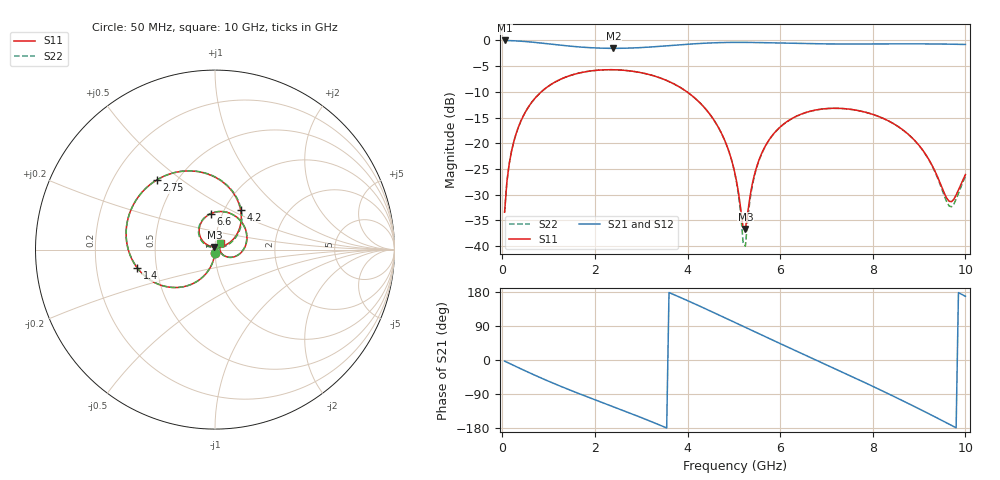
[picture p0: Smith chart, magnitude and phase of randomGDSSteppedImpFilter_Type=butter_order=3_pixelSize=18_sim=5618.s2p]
! freq	dB(S11)	phase(S11)	dB(S12)	phase(S12)
!  dB(S21)	phase(S21)	dB(S22)	phase(S22)
!S-par simulation data
#  GHz  S  DB  R 50
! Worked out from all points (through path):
!   200 points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, 50 MHz to 10 GHz, reference 50 ohm
!   highest |S21| = -0.01 dB at 50 MHz (marker M1); lowest = -1.5 dB at 2.4 GHz (marker M2)
!   group delay of S21, straight-line fit = 151 ps
!   lowest |S11| = -36.7 dB at 5.25 GHz (marker M3), VSWR 1.03, Z = 49.6 + j1.4 ohm
!   |S11| at or under -10 dB: start of sweep to 842.7 MHz; 3.987 GHz to end of sweep
!   |S22| runs from -40.0 to -5.7 dB; largest |S21 - S12| = 0
!   S11 on the Smith chart (normalised r, x): 50 MHz: 1.00, -0.04; 1.4 GHz: 0.39, -0.10; 2.75 GHz: 0.39, +0.41; 4.2 GHz: 1.18, +0.57; 6.6 GHz: 0.88, +0.37; 10 GHz: 1.07, +0.08
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0.05  -33.41 -92.8  -0.01 -3.0  -0.01 -3.0  -33.41 -92.8
0.15  -23.96 -99.1  -0.03 -8.8  -0.03 -8.8  -23.96 -99.1
0.4  -15.71 -113.6  -0.15 -23.2  -0.15 -23.2  -15.71 -113.6
1.4  -7.03 -166.8  -1.06 -76.3  -1.06 -76.3  -7.03 -166.8
1.75  -6.17 176.4  -1.33 -93.2  -1.33 -93.2  -6.17 176.3
2.4  -5.70 146.2  -1.54 -123.5  -1.54 -123.5  -5.70 146.0
2.75  -5.92 129.9  -1.49 -139.9  -1.49 -139.9  -5.92 129.7
3.4  -7.27 98.6  -1.16 -171.7  -1.16 -171.7  -7.27 98.2
4.2  -11.55 57.5  -0.63 145.7  -0.63 145.7  -11.55 56.5
4.75  -18.38 30.1  -0.41 114.6  -0.41 114.6  -18.40 27.8
5.05  -26.98 24.1  -0.38 97.4  -0.38 97.4  -27.19 17.7
5.2  -36.38 63.0  -0.38 88.8  -0.38 88.8  -39.26 51.1
5.25  -36.69 105.1  -0.38 85.9  -0.38 85.9  -40.02 113.6
5.4  -27.85 147.3  -0.40 77.3  -0.40 77.3  -28.19 154.5
5.6  -21.99 145.8  -0.43 65.9  -0.43 65.9  -22.09 149.5
6.6  -13.89 96.4  -0.63 9.8  -0.63 9.8  -13.91 97.7
6.7  -13.66 91.0  -0.65 4.2  -0.65 4.2  -13.68 92.3
7.45  -13.32 50.6  -0.70 -37.9  -0.70 -37.9  -13.34 51.6
8.35  -15.70 2.9  -0.68 -89.9  -0.68 -89.9  -15.71 3.5
9.1  -21.61 -30.3  -0.67 -135.0  -0.67 -135.0  -21.65 -30.6
9.65  -31.29 0.3  -0.73 -169.4  -0.73 -169.4  -32.22 -0.3
10  -26.09 46.2  -0.79 168.1  -0.79 168.1  -26.44 50.9
